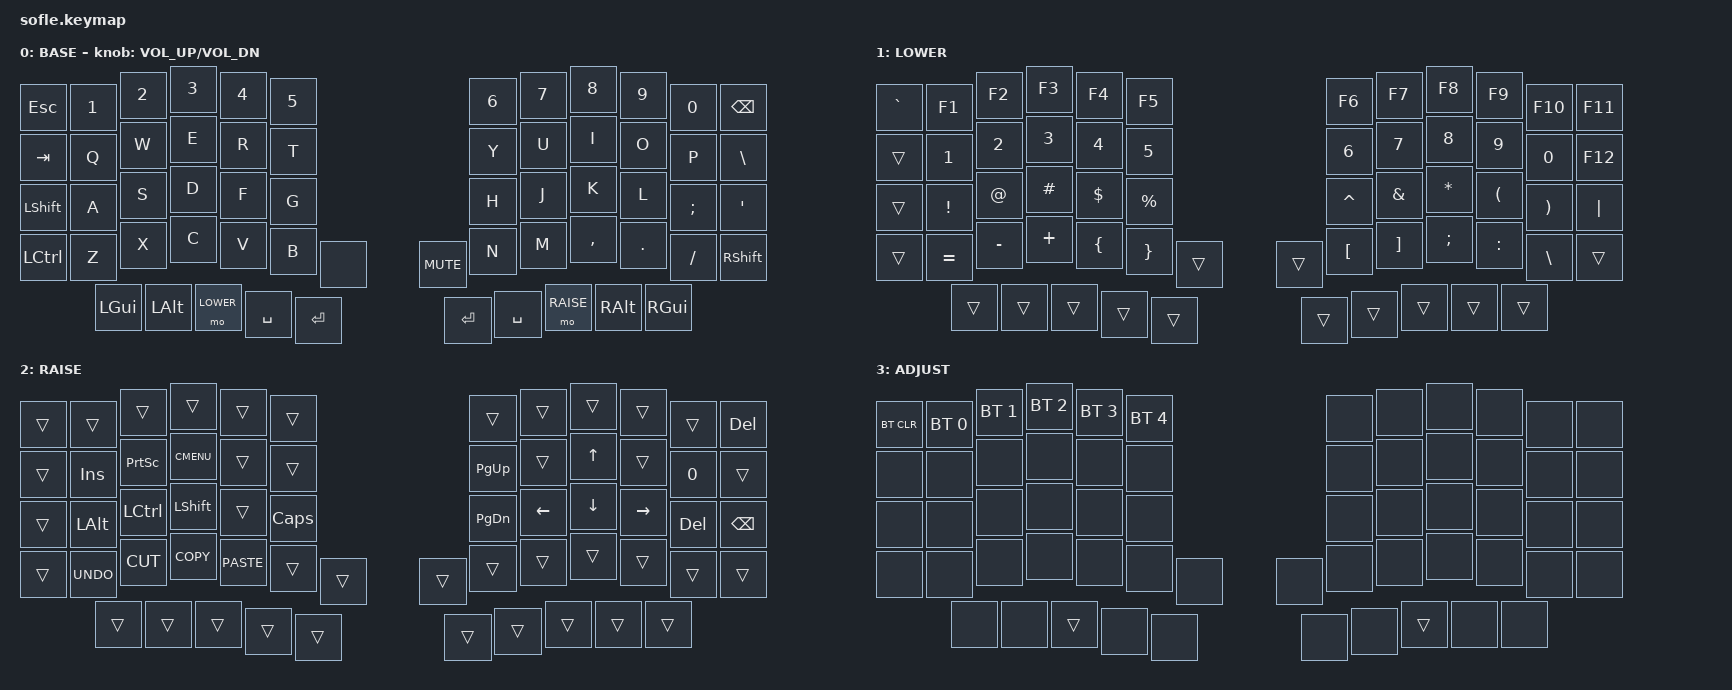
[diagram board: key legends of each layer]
#include <behaviors.dtsi>
#include <dt-bindings/zmk/keys.h>
#include <dt-bindings/zmk/bt.h>


#define BASE 0
#define LOWER 1
#define RAISE 2
#define ADJUST 3

/ {
    conditional_layers {
        compatible = "zmk,conditional-layers";
        tri_layer {
            if-layers = <LOWER RAISE>;
            then-layer = <ADJUST>;
        };
    };

    keymap {
        compatible = "zmk,keymap";

        default_layer {
            display-name = "BASE";
            bindings = <
&kp ESC   &kp N1 &kp N2   &kp N3   &kp N4    &kp N5                           &kp N6 &kp N7    &kp N8    &kp N9   &kp N0   &kp BSPC
&kp TAB   &kp Q  &kp W    &kp E    &kp R     &kp T                            &kp Y  &kp U     &kp I     &kp O    &kp P    &kp BSLH
&kp LSHFT &kp A  &kp S    &kp D    &kp F     &kp G                            &kp H  &kp J     &kp K     &kp L    &kp SEMI &kp SQT
&kp LCTRL &kp Z  &kp X    &kp C    &kp V     &kp B     &none    &kp C_MUTE       &kp N  &kp M     &kp COMMA &kp DOT  &kp FSLH &kp RSHFT
                 &kp LGUI &kp LALT &mo LOWER &kp SPACE &kp RET      &kp RET   &kp SPACE &mo RAISE &kp RALT &kp RGUI
        >;
        sensor-bindings = <&inc_dec_kp C_VOL_UP C_VOL_DN>;

    };


        lower_layer {
            display-name = "LOWER";
            bindings = <
&kp GRAVE &kp F1    &kp F2    &kp F3      &kp F4    &kp F5                    &kp F6    &kp F7   &kp F8    &kp F9    &kp F10   &kp F11
&trans    &kp N1    &kp N2    &kp N3      &kp N4    &kp N5                    &kp N6    &kp N7   &kp N8    &kp N9    &kp N0    &kp F12
&trans    &kp EXCL  &kp AT    &kp HASH    &kp DLLR  &kp PRCNT                 &kp CARET &kp AMPS &kp ASTRK &kp LPAR  &kp RPAR  &kp PIPE
&trans    &kp EQUAL &kp MINUS &kp PLUS    &kp LBRC  &kp RBRC  &trans   &trans &kp LBKT  &kp RBKT &kp SEMI  &kp COLON &kp BSLH  &trans
                    &trans    &trans      &trans    &trans    &trans   &trans &trans    &trans   &trans    &trans
            >;
        };

        raise_layer {
            display-name = "RAISE";
            bindings = <
&trans &trans    &trans    &trans    &trans    &trans                       &trans   &trans   &trans   &trans    &trans  &kp DEL
&trans &kp INS   &kp PSCRN &kp K_CMENU &trans  &trans                       &kp PG_UP &trans  &kp UP   &trans    &kp N0  &trans
&trans &kp LALT  &kp LCTRL &kp LSHFT &trans    &kp CLCK                     &kp PG_DN &kp LEFT &kp DOWN &kp RIGHT &kp DEL &kp BSPC
&trans &kp K_UNDO &kp K_CUT &kp K_COPY &kp K_PASTE &trans &trans     &trans &trans   &trans   &trans   &trans    &trans  &trans
                 &trans    &trans    &trans    &trans    &trans     &trans &trans   &trans   &trans   &trans
            >;
        };

        adjust_layer {
            display-name = "ADJUST";
            bindings = <
&bt BT_CLR &bt BT_SEL 0 &bt BT_SEL 1 &bt BT_SEL 2 &bt BT_SEL 3 &bt BT_SEL 4             &none &none &none &none &none &none
&none      &none        &none        &none        &none        &none                    &none &none &none &none &none &none
&none      &none        &none        &none        &none        &none                    &none &none &none &none &none &none
&none      &none        &none        &none        &none        &none &none        &none &none &none &none &none &none &none
                        &none        &none        &trans       &none &none        &none &none &trans &none &none
            >;
        };
    };
};
